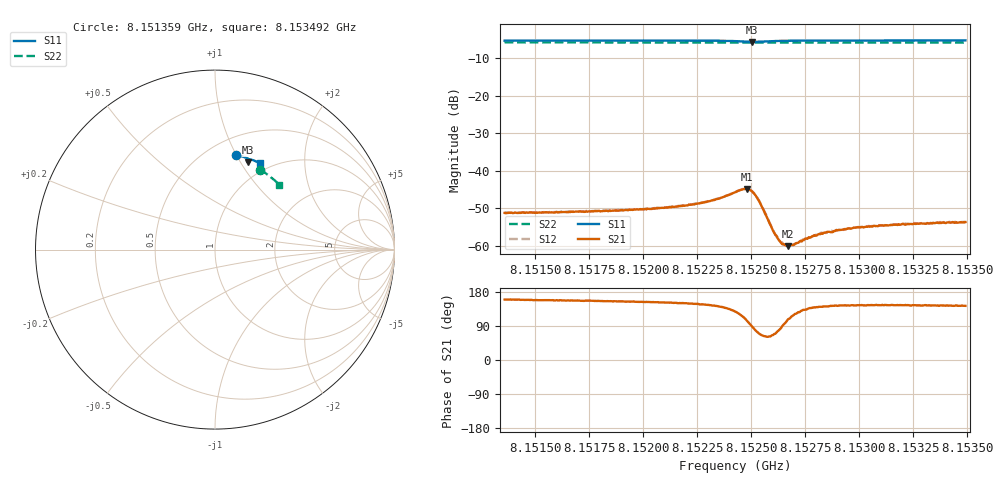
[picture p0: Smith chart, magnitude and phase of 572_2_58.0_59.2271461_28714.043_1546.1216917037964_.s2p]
#  HZ  S  RI  R  50.00
! Rohde & Schwarz Vector Network Analyzer
! Rohde-Schwarz,ZNB20-2Port,1311601062101988,3.16
! Created: UTC 3/21/2024, 1:15:57 AM
! freq[Hz]  re:S11  im:S11  re:S21  im:S21  re:S12  im:S12  re:S22  im:S22
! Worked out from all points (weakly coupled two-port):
!   401 points, 8.151359 GHz to 8.153492 GHz, reference 50 ohm
!   highest |S21| = -44.83 dB at 8.152479 GHz (marker M1); lowest = -60.1 dB at 8.152671 GHz (marker M2)
!   lowest |S11| = -5.7 dB at 8.152506 GHz (marker M3), VSWR 3.16, Z = 40.4 + j53.7 ohm
!   |S11| at or under -10 dB: nowhere
!   |S22| runs from -5.9 to -5.8 dB; largest |S21 - S12| = 0.00013
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8.1513592e9  0.1147 0.5274  -0.00257 0.000967  -0.00259 0.00098  0.2533 0.4442
8.1517164e9  0.1395 0.5219  -0.00261 0.00116  -0.00264 0.00119  0.2728 0.432
8.1520737e9  0.1648 0.5147  -0.00282 0.00149  -0.0028 0.00156  0.2916 0.4189
8.152191e9  0.1735 0.5117  -0.00296 0.00172  -0.00298 0.00178  0.2976 0.4144
8.1522763e9  0.1803 0.5086  -0.00317 0.00208  -0.00315 0.00212  0.302 0.4112
8.1523563e9  0.1873 0.504  -0.00333 0.00272  -0.00332 0.00279  0.3061 0.4078
8.1524256e9  0.1925 0.4961  -0.0032 0.00406  -0.00316 0.00415  0.3095 0.4047
8.1524576e9  0.1922 0.4901  -0.00249 0.00503  -0.00246 0.00511  0.3109 0.4034
8.1524789e9  0.1892 0.4864  -0.00147 0.00554  -0.00145 0.00558  0.3118 0.4026
8.1525056e9  0.1826 0.4854  0.000212 0.00528  0.00026 0.00533  0.3127 0.4017
8.1525216e9  0.1794 0.4877  0.000998 0.00456  0.00106 0.00459  0.3133 0.4011
8.1525376e9  0.1776 0.4912  0.00137 0.00368  0.00139 0.00372  0.3141 0.4004
8.1525962e9  0.1825 0.5005  0.000724 0.00156  0.000767 0.00153  0.3173 0.3986
8.1526176e9  0.1853 0.5018  0.000404 0.00131  0.000415 0.00126  0.3184 0.3978
8.1526442e9  0.1886 0.5026  1.24e-05 0.00106  4.7e-05 0.00111  0.3198 0.3968
8.1526709e9  0.1916 0.5028  -0.000297 0.000947  -0.000268 0.000978  0.3212 0.3957
8.1527029e9  0.1949 0.5026  -0.000559 0.000902  -0.00052 0.000922  0.3226 0.3943
8.1527829e9  0.2022 0.5012  -0.000996 0.000904  -0.000983 0.00091  0.3266 0.391
8.1528309e9  0.206 0.5  -0.00112 0.000922  -0.00112 0.000965  0.329 0.3891
8.1529802e9  0.217 0.4963  -0.00141 0.00103  -0.00142 0.00104  0.336 0.3827
8.1531401e9  0.2279 0.4917  -0.00153 0.0011  -0.00152 0.00111  0.3435 0.3757
8.1534921e9  0.2506 0.4815  -0.00166 0.00125  -0.00164 0.00128  0.3593 0.36
